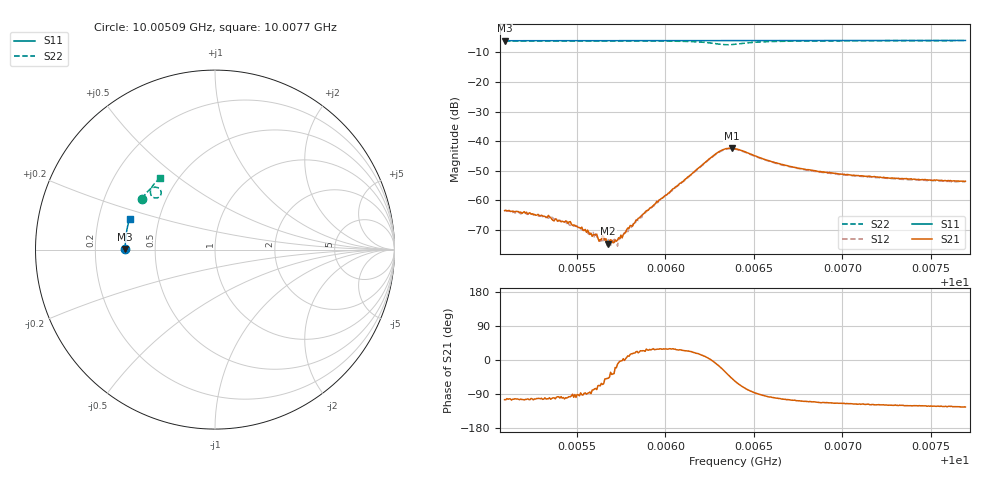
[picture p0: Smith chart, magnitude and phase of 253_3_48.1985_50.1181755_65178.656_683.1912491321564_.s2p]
#  HZ  S  RI  R  50.00
! Rohde & Schwarz Vector Network Analyzer
! Rohde-Schwarz,ZNB20-2Port,1311601062101988,3.16
! Created: UTC 3/20/2024, 11:47:21 AM
! freq[Hz]  re:S11  im:S11  re:S21  im:S21  re:S12  im:S12  re:S22  im:S22
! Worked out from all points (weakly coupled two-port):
!   401 points, 10.00509 GHz to 10.0077 GHz, reference 50 ohm
!   highest |S21| = -42.41 dB at 10.00637 GHz (marker M1); lowest = -74.7 dB at 10.00568 GHz (marker M2)
!   lowest |S11| = -6.0 dB at 10.00509 GHz (marker M3), VSWR 3.00, Z = 16.7 + j0.16 ohm
!   |S11| at or under -10 dB: nowhere
!   |S22| runs from -7.4 to -6.0 dB; largest |S21 - S12| = 0.00044
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1.0005092e10  -0.4998 0.0036  -0.000168 -0.000642  -0.000131 -0.000659  -0.4059 0.2832
1.0005293e10  -0.4999 0.0168  -0.000115 -0.00053  -8.7e-05 -0.000525  -0.3981 0.2952
1.0005371e10  -0.5 0.0218  -7.59e-05 -0.000439  -5.46e-05 -0.00047  -0.3948 0.3
1.000545e10  -0.4997 0.0271  -5.98e-05 -0.000398  -6.51e-05 -0.000421  -0.3914 0.3047
1.0005528e10  -0.4997 0.0319  -9.01e-06 -0.000349  3.8e-06 -0.000316  -0.388 0.3092
1.0005599e10  -0.4995 0.0367  6.05e-05 -0.000252  8.32e-05 -0.000217  -0.3846 0.3136
1.0005632e10  -0.4995 0.0387  7.98e-05 -0.0002  8.19e-05 -0.000184  -0.3828 0.3157
1.0005651e10  -0.4993 0.0401  0.00011 -0.000211  0.000116 -0.000184  -0.3817 0.317
1.0005677e10  -0.4992 0.0416  0.000122 -0.000136  0.000154 -0.00015  -0.3804 0.3184
1.000571e10  -0.4992 0.0438  0.000155 -0.000113  0.00022 -6.52e-05  -0.3785 0.3207
1.0005716e10  -0.499 0.0441  0.000199 -7.2e-05  0.000197 -2.27e-05  -0.3782 0.321
1.0005736e10  -0.4989 0.0455  0.000229 -2.74e-05  0.000213 -4.04e-05  -0.3771 0.3222
1.0005807e10  -0.4986 0.05  0.000354 0.000104  0.000328 0.000105  -0.3728 0.3269
1.0005964e10  -0.4978 0.0603  0.000878 0.000483  0.000841 0.000503  -0.3607 0.3372
1.0006289e10  -0.495 0.0812  0.00613 -0.00112  0.00604 -0.000795  -0.3012 0.3258
1.0006335e10  -0.4945 0.0838  0.00634 -0.00364  0.00639 -0.00326  -0.3029 0.3038
1.0006374e10  -0.4943 0.0859  0.00509 -0.00562  0.00525 -0.00522  -0.3173 0.2898
1.0006393e10  -0.4942 0.0871  0.00415 -0.00618  0.00441 -0.00583  -0.3266 0.2874
1.0006608e10  -0.4925 0.101  -0.000695 -0.00436  -0.000482 -0.00433  -0.3595 0.3258
1.0006829e10  -0.49 0.1149  -0.00112 -0.003  -0.000958 -0.00299  -0.3503 0.3499
1.0007266e10  -0.4837 0.1426  -0.00115 -0.00206  -0.00103 -0.00208  -0.3283 0.3778
1.0007695e10  -0.4759 0.1692  -0.00117 -0.00173  -0.00105 -0.00172  -0.3064 0.3985
